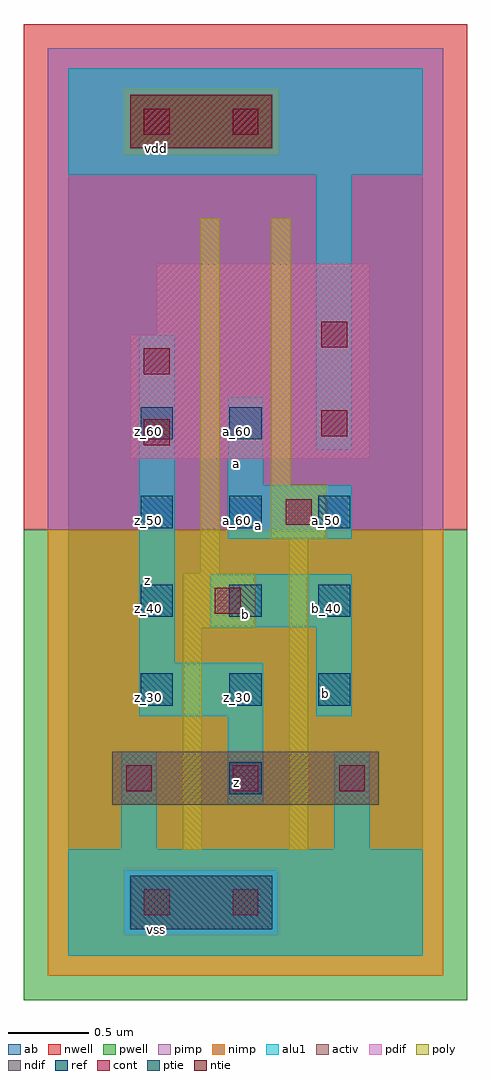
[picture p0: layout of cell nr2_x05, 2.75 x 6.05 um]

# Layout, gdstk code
import gdstk
lib = gdstk.Library(unit=1e-6, precision=2.5e-09)
def R(c, l, rs):  # rectangles x0, y0, x1, y1
    for r in rs: c.add(gdstk.rectangle(r[:2], r[2:], *l))
def A(c, l, x, y, w, h, nx, ny, dx, dy):  # array of equal rectangles
    R(c, l, [(x+i*dx, y+j*dy, x+i*dx+w, y+j*dy+h) for i in range(nx) for j in range(ny)])
ndif = (3, 0)
pdif = (4, 0)
ntie = (5, 0)
ptie = (6, 0)
ref = (24, 0)
cont = (25, 0)
pwell = (41, 0)
nwell = (42, 0)
activ = (43, 0)
pimp = (44, 0)
nimp = (45, 0)
poly = (46, 0)
alu1 = (49, 0)
ab = (63, 0)

nr2_x05 = lib.new_cell('nr2_x05')
R(nr2_x05, ndif, [(0.275,0.935,1.925,1.265)])
R(nr2_x05, pdif, [(0.385,3.08,1.87,3.85), (0.55,3.85,1.87,4.29)])
R(nr2_x05, ntie, [(0.385,5.005,1.265,5.335)])
R(nr2_x05, ptie, [(0.385,0.165,1.265,0.495)])
A(nr2_x05, ref, 0.45, 1.55, 0.2, 0.2, 3, 3, 0.55, 0.55)
R(nr2_x05, ref, [(1,1,1.2,1.2), (0.45,3.2,0.65,3.4), (1,3.2,1.2,3.4)])
A(nr2_x05, cont, 0.36, 1.02, 0.16, 0.16, 3, 1, 0.66, 0)
R(nr2_x05, cont, [(0.47,0.25,0.63,0.41), (1.02,0.25,1.18,0.41), (0.91,2.12,1.07,2.28), (1.35,2.67,1.51,2.83), (0.47,3.165,0.63,3.325), (1.57,3.22,1.73,3.38), (0.47,3.605,0.63,3.765), (1.57,3.77,1.73,3.93), (0.47,5.09,0.63,5.25), (1.02,5.09,1.18,5.25)])
R(nr2_x05, pwell, [(-0.275,-0.275,2.475,2.64)])
R(nr2_x05, nwell, [(-0.275,2.64,2.475,5.775)])
R(nr2_x05, activ, [(0.385,0.165,1.265,0.495), (0.275,0.935,1.925,1.265), (0.385,3.08,1.87,3.85), (0.55,3.85,1.87,4.29), (0.385,5.005,1.265,5.335)])
R(nr2_x05, pimp, [(0.345,0.125,1.305,0.535), (-0.125,2.64,2.325,4.965), (-0.125,4.965,0.345,5.375), (1.305,4.965,2.325,5.375), (-0.125,5.375,2.325,5.625)])
R(nr2_x05, nimp, [(-0.125,-0.125,2.325,0.125), (-0.125,0.125,0.345,0.535), (1.305,0.125,2.325,0.535), (-0.125,0.535,2.325,2.64), (0.345,4.965,1.305,5.375)])
R(nr2_x05, poly, [(0.71,0.655,0.83,2.03), (1.37,0.655,1.49,2.58), (0.71,2.03,1.16,2.37), (0.82,2.37,0.94,4.57), (1.26,2.58,1.6,2.92), (1.26,2.92,1.38,4.57)])
R(nr2_x05, alu1, [(0,0,2.2,0.66), (0.33,0.66,0.55,1.265), (1.65,0.66,1.87,1.265), (0.99,0.935,1.21,1.485), (0.44,1.485,1.21,1.815), (1.54,1.485,1.76,2.035), (0.44,1.815,0.66,3.85), (0.88,2.035,1.76,2.365), (0.99,2.585,1.76,2.915), (0.99,2.915,1.21,3.465), (1.54,3.135,1.76,4.84), (0,4.84,2.2,5.5)])
R(nr2_x05, ab, [(0,0,2.2,5.5)])
nr2_x05.add(gdstk.Label('vss', (0.55,0.165), layer=49, texttype=0))
nr2_x05.add(gdstk.Label('z', (1.045,1.0725), layer=49, texttype=0))
nr2_x05.add(gdstk.Label('b', (1.595,1.6225), layer=49, texttype=0))
nr2_x05.add(gdstk.Label('b', (1.1,2.1175), layer=49, texttype=0))
nr2_x05.add(gdstk.Label('a', (1.1825,2.6675), layer=49, texttype=0))
nr2_x05.add(gdstk.Label('a', (1.045,3.0525), layer=49, texttype=0))
nr2_x05.add(gdstk.Label('z', (0.495,2.3225), layer=49, texttype=0))
nr2_x05.add(gdstk.Label('vdd', (0.55,5.005), layer=49, texttype=0))
nr2_x05.add(gdstk.Label('a_60', (1.05,3.25), layer=24, texttype=0))
nr2_x05.add(gdstk.Label('a_60', (1.05,2.7), layer=24, texttype=0))
nr2_x05.add(gdstk.Label('z_20', (1.05,1.05), layer=24, texttype=0))
nr2_x05.add(gdstk.Label('b_30', (1.6,1.6), layer=24, texttype=0))
nr2_x05.add(gdstk.Label('z_30', (1.05,1.6), layer=24, texttype=0))
nr2_x05.add(gdstk.Label('b_40', (1.6,2.15), layer=24, texttype=0))
nr2_x05.add(gdstk.Label('z_40', (0.5,2.15), layer=24, texttype=0))
nr2_x05.add(gdstk.Label('z_50', (0.5,2.7), layer=24, texttype=0))
nr2_x05.add(gdstk.Label('z_60', (0.5,3.25), layer=24, texttype=0))
nr2_x05.add(gdstk.Label('a_50', (1.6,2.7), layer=24, texttype=0))
nr2_x05.add(gdstk.Label('z_30', (0.5,1.6), layer=24, texttype=0))
nr2_x05.add(gdstk.Label('b_40', (1.05,2.15), layer=24, texttype=0))

lib.write_gds('nr2_x05.gds')
